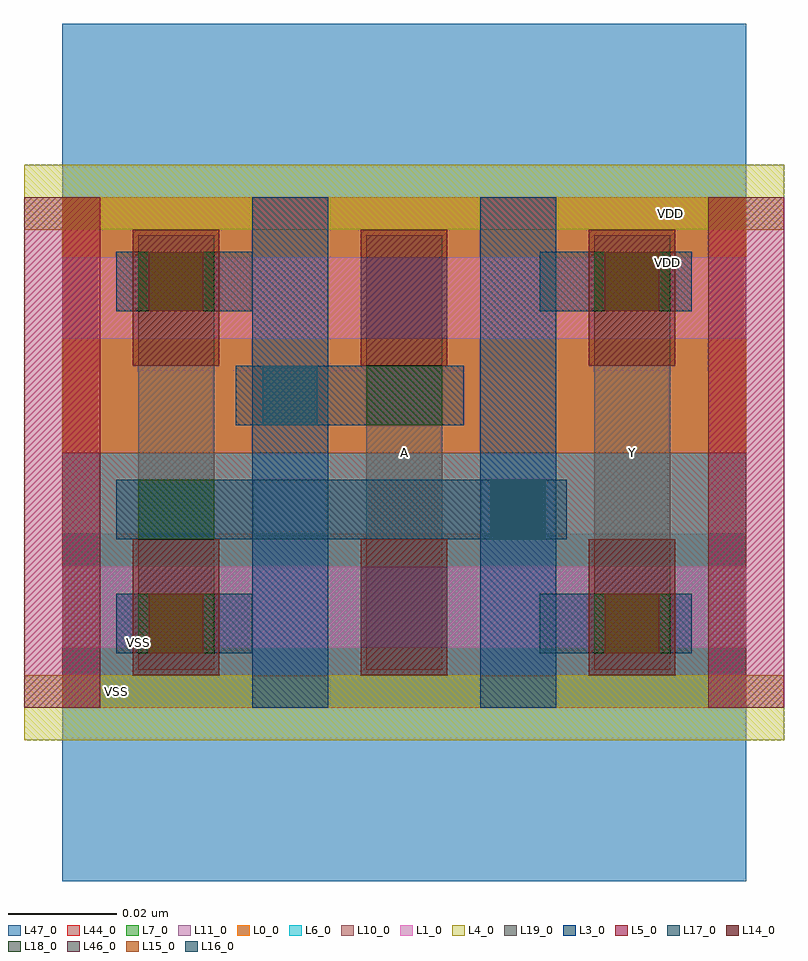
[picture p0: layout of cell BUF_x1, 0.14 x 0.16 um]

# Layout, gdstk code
import gdstk
lib = gdstk.Library(unit=1e-6, precision=5e-10)
def R(c, l, rs):  # rectangles x0, y0, x1, y1
    for r in rs: c.add(gdstk.rectangle(r[:2], r[2:], *l))
def A(c, l, x, y, w, h, nx, ny, dx, dy):  # array of equal rectangles
    R(c, l, [(x+i*dx, y+j*dy, x+i*dx+w, y+j*dy+h) for i in range(nx) for j in range(ny)])
L0_0 = (0, 0)
L1_0 = (1, 0)
L3_0 = (3, 0)
L4_0 = (4, 0)
L5_0 = (5, 0)
L6_0 = (6, 0)
L7_0 = (7, 0)
L10_0 = (10, 0)
L11_0 = (11, 0)
L14_0 = (14, 0)
L15_0 = (15, 0)
L16_0 = (16, 0)
L17_0 = (17, 0)
L18_0 = (18, 0)
L19_0 = (19, 0)
L44_0 = (44, 0)
L46_0 = (46, 0)
L47_0 = (47, 0)

buf_x1 = lib.new_cell('BUF_x1')
R(buf_x1, L0_0, [(0,0.047,0.126,0.094)])
R(buf_x1, L1_0, [(0,0.011,0.126,0.026), (0,0.068,0.126,0.083)])
R(buf_x1, L3_0, [(0.035,0,0.049,0.094), (0.077,0,0.091,0.094)])
R(buf_x1, L4_0, [(-0.007,-0.006,0.133,0.006), (-0.007,0.088,0.133,0.1)])
R(buf_x1, L5_0, [(-0.007,0,0.007,0.094), (0.119,0,0.133,0.094)])
R(buf_x1, L6_0, [(0,0,0.126,0.047)])
R(buf_x1, L7_0, [(0,0.047,0.126,0.094)])
R(buf_x1, L10_0, [(0,0,0.126,0.047)])
R(buf_x1, L11_0, [(0,0.047,0.126,0.094)])
A(buf_x1, L14_0, 0.013, 0.006, 0.016, 0.025, 3, 2, 0.042, 0.057)
R(buf_x1, L15_0, [(0.016,0.01,0.026,0.021), (0.1,0.01,0.11,0.021), (0.016,0.073,0.026,0.084), (0.1,0.073,0.11,0.084)])
R(buf_x1, L16_0, [(0.079,0.031,0.089,0.042), (0.037,0.052,0.047,0.063)])
R(buf_x1, L17_0, [(0.01,0.01,0.035,0.021), (0.088,0.01,0.116,0.021), (0.01,0.031,0.093,0.042), (0.032,0.052,0.074,0.063), (0.01,0.073,0.035,0.084), (0.088,0.073,0.116,0.084)])
R(buf_x1, L18_0, [(0.014,0.01,0.028,0.021), (0.098,0.01,0.112,0.021), (0.014,0.031,0.028,0.042), (0.056,0.052,0.07,0.063), (0.014,0.073,0.028,0.084), (0.098,0.073,0.112,0.084)])
A(buf_x1, L19_0, 0.014, 0.007, 0.014, 0.08, 3, 1, 0.042, 0)
R(buf_x1, L44_0, [(0,0,0.126,0.094)])
R(buf_x1, L46_0, [(0.055,0.011,0.071,0.026), (0.055,0.068,0.071,0.083)])
R(buf_x1, L47_0, [(0,-0.032,0.126,0.032), (0,0.062,0.126,0.126)])
buf_x1.add(gdstk.Label('VSS', (0.01,0.003), layer=54, texttype=2))
buf_x1.add(gdstk.Label('A', (0.063,0.047), layer=19, texttype=2))
buf_x1.add(gdstk.Label('Y', (0.105,0.047), layer=19, texttype=2))
buf_x1.add(gdstk.Label('VDD', (0.112,0.091), layer=0, texttype=2))
buf_x1.add(gdstk.Label('VSS', (0.014,0.012), layer=47, texttype=2))
buf_x1.add(gdstk.Label('VDD', (0.1115,0.082), layer=47, texttype=2))

lib.write_gds('BUF_x1.gds')
